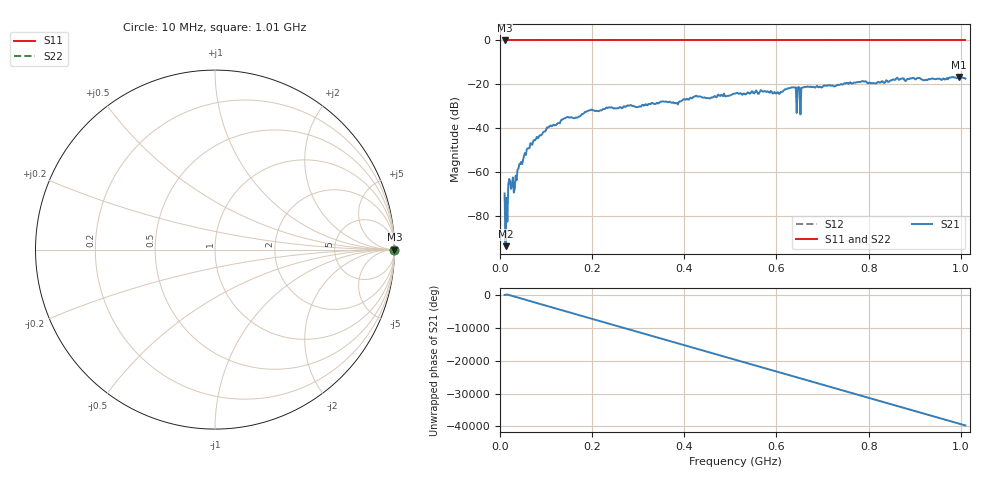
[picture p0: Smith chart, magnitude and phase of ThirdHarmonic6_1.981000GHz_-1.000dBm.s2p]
! 8/16/2025 11:49:25 PM
! C:\ANRITSUVNA\TEMP\TEMP.S2P
! CHANNEL.1
! TR.MEASUREMENT
! RAW.DATA
! RF.CORRECTION.OFF
! AVERAGING.OFF
! IF.BANDWIDTH: 5KHZ
! SWEEPTYPE:  FREQ.SWEEP(Linear)
! Reference Plane Port Info
! PORT:  PORT1  PORT2
! DISTANCE:  0  m  0  m
! TIME:  0  s  0  s
! PHASE.OFFSET:  0  deg.  0  deg.
! LOSS:  0  dB  0  dB
! REF.LOSS:  0  dB  0  dB
! REF.FREQ:  0  Hz  0  Hz
! Power Info
! POWER:  -20  dBm  -20  dBm
! EFF.POWER:  -20  dBm  -20  dBm
! SOURCE.ATTEN:  0  dB  0  dB
! TEST.ATTEN:  0  dB  0  dB
# GHZ S RI R 50.0
! FREQ.GHZ  S11RE  S11IM  S21RE  S21IM  S12RE  S12IM  S22RE  S22IM
!; PortSelection: Port_12
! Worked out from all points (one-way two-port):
!   501 points, 10 MHz to 1.01 GHz, reference 50 ohm
!   highest |S21| = -16.62 dB at 996 MHz (marker M1); lowest = -93.5 dB at 12 MHz (marker M2)
!   lowest |S11| = 0.0 dB at 10 MHz (marker M3)
!   |S11| at or under -10 dB: nowhere
!   |S22| runs from 0.0 to 0.0 dB; largest |S21 - S12| = 1.1
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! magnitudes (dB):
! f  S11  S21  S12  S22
! 10 MHz  0.0  -69.6  0.0  0.0
! 12 MHz  0.0  -93.5  0.0  0.0
! 22 MHz  0.0  -64.0  0.0  0.0
! 28 MHz  0.0  -62.3  0.0  0.0
! 34 MHz  0.0  -61.5  0.0  0.0
! 42 MHz  0.0  -56.2  0.0  0.0
! 70 MHz  0.0  -47.4  0.0  0.0
! 106 MHz  0.0  -39.3  0.0  0.0
! 178 MHz  0.0  -33.5  0.0  0.0
! 344 MHz  0.0  -28.7  0.0  0.0
! 510 MHz  0.0  -24.1  0.0  0.0
! 604 MHz  0.0  -23.7  0.0  0.0
! 638 MHz  0.0  -21.3  0.0  0.0
! 646 MHz  0.0  -21.4  0.0  0.0
! 648 MHz  0.0  -21.2  0.0  0.0
! 650 MHz  0.0  -21.5  0.0  0.0
! 656 MHz  0.0  -21.5  0.0  0.0
! 658 MHz  0.0  -21.4  0.0  0.0
! 678 MHz  0.0  -21.2  0.0  0.0
! 844 MHz  0.0  -18.8  0.0  0.0
! 996 MHz  0.0  -16.6  0.0  0.0
! 1.01 GHz  0.0  -17.4  0.0  0.0
